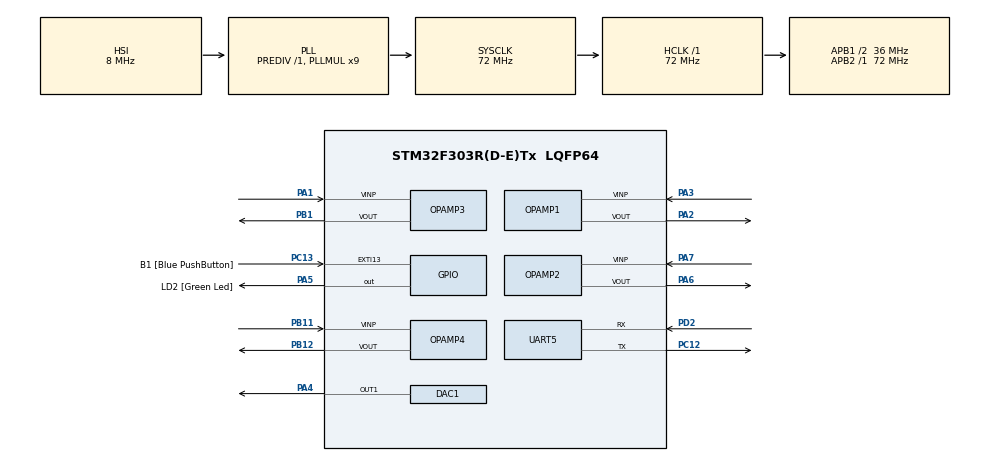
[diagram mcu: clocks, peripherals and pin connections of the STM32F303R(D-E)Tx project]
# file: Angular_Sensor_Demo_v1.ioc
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ADC1.Channel-0\#ChannelRegularConversion=ADC_CHANNEL_3
ADC1.ClockPrescaler=ADC_CLOCK_SYNC_PCLK_DIV4
ADC1.ContinuousConvMode=ENABLE
ADC1.DMAContinuousRequests=ENABLE
ADC1.DataAlign=ADC_DATAALIGN_RIGHT
ADC1.DiscontinuousConvMode=DISABLE
ADC1.EOCSelection=ADC_EOC_SINGLE_CONV
ADC1.EnableAnalogWatchDog1=false
ADC1.EnableAnalogWatchDog2=false
ADC1.EnableAnalogWatchDog3=false
ADC1.EnableInjectedConversion=ENABLE
ADC1.EnableRegularConversion=ENABLE
ADC1.ExternalTrigConv=ADC_SOFTWARE_START
ADC1.ExternalTrigConvEdge=ADC_EXTERNALTRIGCONVEDGE_NONE
ADC1.InjNumberOfConversion=0
ADC1.LowPowerAutoWait=DISABLE
ADC1.NbrOfConversion=1
ADC1.NbrOfConversionFlag=1
ADC1.Offset-0\#ChannelRegularConversion=0
ADC1.OffsetNumber-0\#ChannelRegularConversion=ADC_OFFSET_NONE
ADC1.Overrun=ADC_OVR_DATA_OVERWRITTEN
ADC1.Rank-0\#ChannelRegularConversion=1
ADC1.Resolution=ADC_RESOLUTION_12B
ADC1.SamplingTime-0\#ChannelRegularConversion=ADC_SAMPLETIME_4CYCLES_5
ADC1.ScanConvMode=ADC_SCAN_DISABLE
ADC1.master=1
ADC2.Channel-200\#ChannelRegularConversion=ADC_CHANNEL_3
ADC2.ClockPrescaler=ADC_CLOCK_SYNC_PCLK_DIV4
ADC2.ContinuousConvMode=ENABLE
ADC2.DMAContinuousRequests=ENABLE
ADC2.DataAlign=ADC_DATAALIGN_RIGHT
ADC2.DiscontinuousConvMode=DISABLE
ADC2.EOCSelection=ADC_EOC_SINGLE_CONV
ADC2.EnableAnalogWatchDog1=false
ADC2.EnableAnalogWatchDog2=false
ADC2.EnableAnalogWatchDog3=false
ADC2.EnableInjectedConversion=DISABLE
ADC2.EnableRegularConversion=ENABLE
ADC2.ExternalTrigConv=ADC_SOFTWARE_START
ADC2.ExternalTrigConvEdge=ADC_EXTERNALTRIGCONVEDGE_NONE
ADC2.LowPowerAutoWait=DISABLE
ADC2.NbrOfConversion=1
ADC2.NbrOfConversionFlag=1
ADC2.Offset-200\#ChannelRegularConversion=0
ADC2.OffsetNumber-200\#ChannelRegularConversion=ADC_OFFSET_NONE
ADC2.Overrun=ADC_OVR_DATA_OVERWRITTEN
ADC2.Rank-200\#ChannelRegularConversion=1
ADC2.Resolution=ADC_RESOLUTION_12B
ADC2.SamplingTime-200\#ChannelRegularConversion=ADC_SAMPLETIME_4CYCLES_5
ADC2.ScanConvMode=ADC_SCAN_DISABLE
ADC3.Channel-0\#ChannelRegularConversion=ADC_CHANNEL_1
ADC3.ClockPrescaler=ADC_CLOCK_SYNC_PCLK_DIV4
ADC3.ContinuousConvMode=ENABLE
ADC3.DMAContinuousRequests=ENABLE
ADC3.DataAlign=ADC_DATAALIGN_RIGHT
ADC3.DiscontinuousConvMode=DISABLE
ADC3.EOCSelection=ADC_EOC_SINGLE_CONV
ADC3.EnableAnalogWatchDog1=false
ADC3.EnableAnalogWatchDog2=false
ADC3.EnableAnalogWatchDog3=false
ADC3.EnableInjectedConversion=ENABLE
ADC3.EnableRegularConversion=ENABLE
ADC3.ExternalTrigConv=ADC_SOFTWARE_START
ADC3.ExternalTrigConvEdge=ADC_EXTERNALTRIGCONVEDGE_NONE
ADC3.InjNumberOfConversion=0
ADC3.LowPowerAutoWait=DISABLE
ADC3.NbrOfConversion=1
ADC3.NbrOfConversionFlag=1
ADC3.Offset-0\#ChannelRegularConversion=0
ADC3.OffsetNumber-0\#ChannelRegularConversion=ADC_OFFSET_NONE
ADC3.Overrun=ADC_OVR_DATA_OVERWRITTEN
ADC3.Rank-0\#ChannelRegularConversion=1
ADC3.Resolution=ADC_RESOLUTION_12B
ADC3.SamplingTime-0\#ChannelRegularConversion=ADC_SAMPLETIME_4CYCLES_5
ADC3.ScanConvMode=ADC_SCAN_DISABLE
ADC3.master=1
ADC4.Channel-0\#ChannelRegularConversion=ADC_CHANNEL_3
ADC4.ClockPrescaler=ADC_CLOCK_SYNC_PCLK_DIV4
ADC4.ContinuousConvMode=ENABLE
ADC4.DMAContinuousRequests=ENABLE
ADC4.DataAlign=ADC_DATAALIGN_RIGHT
ADC4.DiscontinuousConvMode=DISABLE
ADC4.EOCSelection=ADC_EOC_SINGLE_CONV
ADC4.EnableAnalogWatchDog1=false
ADC4.EnableAnalogWatchDog2=false
ADC4.EnableAnalogWatchDog3=false
ADC4.EnableInjectedConversion=ENABLE
ADC4.EnableRegularConversion=ENABLE
ADC4.ExternalTrigConv=ADC_SOFTWARE_START
ADC4.ExternalTrigConvEdge=ADC_EXTERNALTRIGCONVEDGE_NONE
ADC4.InjNumberOfConversion=0
ADC4.LowPowerAutoWait=DISABLE
ADC4.NbrOfConversion=1
ADC4.NbrOfConversionFlag=1
ADC4.Offset-0\#ChannelRegularConversion=0
ADC4.OffsetNumber-0\#ChannelRegularConversion=ADC_OFFSET_NONE
ADC4.Overrun=ADC_OVR_DATA_OVERWRITTEN
ADC4.Rank-0\#ChannelRegularConversion=1
ADC4.Resolution=ADC_RESOLUTION_12B
ADC4.SamplingTime-0\#ChannelRegularConversion=ADC_SAMPLETIME_4CYCLES_5
ADC4.ScanConvMode=ADC_SCAN_DISABLE
DAC1.DAC_Trigger=DAC_TRIGGER_T6_TRGO
DAC1.TriangleAmplitude=DAC_TRIANGLEAMPLITUDE_255
DAC1.WaveGeneration=TriangleWaveGeneration
Dma.ADC1.4.Direction=DMA_PERIPH_TO_MEMORY
Dma.ADC1.4.Instance=DMA1_Channel1
Dma.ADC1.4.MemDataAlignment=DMA_MDATAALIGN_WORD
Dma.ADC1.4.MemInc=DMA_MINC_ENABLE
Dma.ADC1.4.Mode=DMA_NORMAL
Dma.ADC1.4.PeriphDataAlignment=DMA_PDATAALIGN_WORD
Dma.ADC1.4.PeriphInc=DMA_PINC_DISABLE
Dma.ADC1.4.Priority=DMA_PRIORITY_LOW
Dma.ADC2.1.Direction=DMA_PERIPH_TO_MEMORY
Dma.ADC2.1.Instance=DMA2_Channel1
Dma.ADC2.1.MemDataAlignment=DMA_MDATAALIGN_WORD
Dma.ADC2.1.MemInc=DMA_MINC_ENABLE
Dma.ADC2.1.Mode=DMA_NORMAL
Dma.ADC2.1.PeriphDataAlignment=DMA_PDATAALIGN_WORD
Dma.ADC2.1.PeriphInc=DMA_PINC_DISABLE
Dma.ADC2.1.Priority=DMA_PRIORITY_LOW
Dma.ADC3.0.Direction=DMA_PERIPH_TO_MEMORY
Dma.ADC3.0.Instance=DMA2_Channel5
Dma.ADC3.0.MemDataAlignment=DMA_MDATAALIGN_WORD
Dma.ADC3.0.MemInc=DMA_MINC_ENABLE
Dma.ADC3.0.Mode=DMA_NORMAL
Dma.ADC3.0.PeriphDataAlignment=DMA_PDATAALIGN_WORD
Dma.ADC3.0.PeriphInc=DMA_PINC_DISABLE
Dma.ADC3.0.Priority=DMA_PRIORITY_LOW
Dma.ADC4.2.Direction=DMA_PERIPH_TO_MEMORY
Dma.ADC4.2.Instance=DMA2_Channel2
Dma.ADC4.2.MemDataAlignment=DMA_MDATAALIGN_WORD
Dma.ADC4.2.MemInc=DMA_MINC_ENABLE
Dma.ADC4.2.Mode=DMA_NORMAL
Dma.ADC4.2.PeriphDataAlignment=DMA_PDATAALIGN_WORD
Dma.ADC4.2.PeriphInc=DMA_PINC_DISABLE
Dma.ADC4.2.Priority=DMA_PRIORITY_LOW
Dma.DAC1_CH1.3.Direction=DMA_MEMORY_TO_PERIPH
Dma.DAC1_CH1.3.Instance=DMA1_Channel3
Dma.DAC1_CH1.3.MemDataAlignment=DMA_MDATAALIGN_WORD
Dma.DAC1_CH1.3.MemInc=DMA_MINC_ENABLE
Dma.DAC1_CH1.3.Mode=DMA_CIRCULAR
Dma.DAC1_CH1.3.PeriphDataAlignment=DMA_PDATAALIGN_WORD
Dma.DAC1_CH1.3.PeriphInc=DMA_PINC_DISABLE
Dma.DAC1_CH1.3.Priority=DMA_PRIORITY_LOW
Dma.Request0=ADC3
Dma.Request1=ADC2
Dma.Request2=ADC4
Dma.Request3=DAC1_CH1
Dma.Request4=ADC1
Mcu.Family=STM32F3
Mcu.Name=STM32F303R(D-E)Tx
Mcu.Package=LQFP64
NVIC.DMA1_Channel1_IRQn=true\:0\:0\:false\:false\:true\:false
NVIC.DMA1_Channel3_IRQn=true\:0\:0\:false\:false\:true\:false
NVIC.DMA2_Channel1_IRQn=true\:0\:0\:false\:false\:true\:false
NVIC.DMA2_Channel2_IRQn=true\:0\:0\:false\:false\:true\:false
NVIC.DMA2_Channel5_IRQn=true\:0\:0\:false\:false\:true\:false
NVIC.PriorityGroup=NVIC_PRIORITYGROUP_0
NVIC.TIM3_IRQn=true\:0\:0\:false\:false\:true\:true
OPAMP1.PgaGain=OPAMP_PGA_GAIN_16
OPAMP2.PgaGain=OPAMP_PGA_GAIN_16
OPAMP3.PgaGain=OPAMP_PGA_GAIN_16
OPAMP4.PgaGain=OPAMP_PGA_GAIN_16
PA1.Mode=PGA Not Connected
PA1.Signal=OPAMP3_VINP
PA13.GPIO_Label=TMS
PA13.Mode=Serial_Wire
PA13.Signal=SYS_JTMS-SWDIO
PA14.GPIO_Label=TCK
PA14.Mode=Serial_Wire
PA14.Signal=SYS_JTCK-SWCLK
PA2.Mode=PGA Not Connected
PA2.Signal=OPAMP1_VOUT
PA3.Mode=PGA Not Connected
PA3.Signal=OPAMP1_VINP
PA4.Signal=COMP_DAC11_group
PA5.GPIO_Label=LD2 [Green Led]
PA5.GPIO_Mode=GPIO_MODE_OUTPUT_PP
PA5.GPIO_PuPd=GPIO_NOPULL
PA5.GPIO_Speed=GPIO_SPEED_FREQ_LOW
PA5.Signal=GPIO_Output
PA6.Mode=PGA Not Connected
PA6.Signal=OPAMP2_VOUT
PA7.Mode=PGA Not Connected
PA7.Signal=OPAMP2_VINP
PB1.Mode=PGA Not Connected
PB1.Signal=OPAMP3_VOUT
PB11.Mode=PGA Not Connected
PB11.Signal=OPAMP4_VINP
PB12.Mode=PGA Not Connected
PB12.Signal=OPAMP4_VOUT
PB3.GPIO_Label=SWO
PB3.Signal=SYS_JTDO-TRACESWO
PC12.Mode=Asynchronous
PC12.Signal=UART5_TX
PC13.GPIO_Label=B1 [Blue PushButton]
PC13.GPIO_ModeDefaultEXTI=GPIO_MODE_IT_FALLING
PC13.Signal=GPXTI13
PC14-OSC32_IN.Mode=LSE-External-Oscillator
PC14-OSC32_IN.Signal=RCC_OSC32_IN
PC15-OSC32_OUT.Mode=LSE-External-Oscillator
PC15-OSC32_OUT.Signal=RCC_OSC32_OUT
PD2.Mode=Asynchronous
PD2.Signal=UART5_RX
PF0-OSC_IN.Mode=HSE-External-Clock-Source
PF0-OSC_IN.Signal=RCC_OSC_IN
PF1-OSC_OUT.Signal=RCC_OSC_OUT
ProjectManager.HeapSize=0x200
ProjectManager.StackSize=0x400
ProjectManager.TargetToolchain=MDK-ARM V5
RCC.AHBFreq_Value=72000000
RCC.APB1CLKDivider=RCC_HCLK_DIV2
RCC.APB1Freq_Value=36000000
RCC.APB1TimFreq_Value=72000000
RCC.APB2Freq_Value=72000000
RCC.APB2TimFreq_Value=72000000
RCC.CortexFreq_Value=72000000
RCC.HCLKFreq_Value=72000000
RCC.HSE_VALUE=8000000
RCC.HSI_VALUE=8000000
RCC.PLLM=8
RCC.PLLMUL=RCC_PLL_MUL9
RCC.PLLN=336
RCC.PLLP=RCC_PLLP_DIV4
RCC.PLLQ=7
RCC.RCC_PLLsource_Clock_Source_FROM_HSE=RCC_HSE_PREDIV_DIV2
RCC.SYSCLKFreq_VALUE=72000000
RCC.SYSCLKSourceVirtual=RCC_SYSCLKSOURCE_PLLCLK
RCC.USBFreq_Value=72000000
SH.COMP_DAC11_group.0=DAC1_OUT1,DAC_OUT1
TIM3.AutoReloadPreload=TIM_AUTORELOAD_PRELOAD_DISABLE
TIM3.Period=100-1
TIM3.Prescaler=72-1
TIM3.TIM_MasterOutputTrigger=TIM_TRGO_RESET
TIM3.TIM_MasterSlaveMode=TIM_MASTERSLAVEMODE_DISABLE
TIM6.Period=10000-1
TIM6.Prescaler=72-1
TIM6.TIM_MasterOutputTrigger=TIM_TRGO_UPDATE
VP_ADC1_OPAMP_OUT1.Mode=IN-OPAMP1-Single-Ended
VP_ADC2_OPAMP_OUT2.Mode=IN-OPAMP2-Single-Ended
VP_ADC3_OPAMP_OUT3.Mode=IN-OPAMP3-Single-Ended
VP_ADC4_OPAMP_OUT4.Mode=IN-OPAMP4-Single-Ended
VP_TIM3_VS_ClockSourceINT.Mode=Internal
VP_TIM3_VS_ClockSourceITR.Mode=TriggerSource_ITR2
VP_TIM6_VS_ClockSourceINT.Mode=Enable_Timer
board=NUCLEO-F303RE

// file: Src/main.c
/**
  ******************************************************************************
  * File Name          : main.c
  * Description        : Main program body
  ******************************************************************************
  ** This notice applies to any and all portions of this file
  * that are not between comment pairs USER CODE BEGIN and
  * USER CODE END. Other portions of this file, whether
  * inserted by the user or by software development tools
  * are owned by their respective copyright owners.
  *
  * COPYRIGHT(c) 2018 STMicroelectronics
  *
  * Redistribution and use in source and binary forms, with or without modification,
  * are permitted provided that the following conditions are met:
  *   1. Redistributions of source code must retain the above copyright notice,
  *      this list of conditions and the following disclaimer.
  *   2. Redistributions in binary form must reproduce the above copyright notice,
  *      this list of conditions and the following disclaimer in the documentation
  *      and/or other materials provided with the distribution.
  *   3. Neither the name of STMicroelectronics nor the names of its contributors
  *      may be used to endorse or promote products derived from this software
  *      without specific prior written permission.
  *
  * THIS SOFTWARE IS PROVIDED BY THE COPYRIGHT HOLDERS AND CONTRIBUTORS "AS IS"
  * AND ANY EXPRESS OR IMPLIED WARRANTIES, INCLUDING, BUT NOT LIMITED TO, THE
  * IMPLIED WARRANTIES OF MERCHANTABILITY AND FITNESS FOR A PARTICULAR PURPOSE ARE
  * DISCLAIMED. IN NO EVENT SHALL THE COPYRIGHT HOLDER OR CONTRIBUTORS BE LIABLE
  * FOR ANY DIRECT, INDIRECT, INCIDENTAL, SPECIAL, EXEMPLARY, OR CONSEQUENTIAL
  * DAMAGES (INCLUDING, BUT NOT LIMITED TO, PROCUREMENT OF SUBSTITUTE GOODS OR
  * SERVICES; LOSS OF USE, DATA, OR PROFITS; OR BUSINESS INTERRUPTION) HOWEVER
  * CAUSED AND ON ANY THEORY OF LIABILITY, WHETHER IN CONTRACT, STRICT LIABILITY,
  * OR TORT (INCLUDING NEGLIGENCE OR OTHERWISE) ARISING IN ANY WAY OUT OF THE USE
  * OF THIS SOFTWARE, EVEN IF ADVISED OF THE POSSIBILITY OF SUCH DAMAGE.
  *
  ******************************************************************************
  */

#include "main.h"
#include "stm32f3xx_hal.h"
#include "adc.h"
#include "dac.h"
#include "dma.h"
#include "opamp.h"
#include "tim.h"
#include "usart.h"
#include "gpio.h"

/* USER CODE BEGIN Includes */
#include <stdio.h>
#include <string.h>
/* USER CODE END Includes */

/* USER CODE BEGIN PV */
/* Private variables ---------------------------------------------------------*/
#define ADC_Read_Counter 10
#define ADC_Channel 1
#define ADC_RW_LEN ADC_Read_Counter * ADC_Channel

#define StringRW 64

char uartTxMessage[StringRW];
char printMsg[StringRW];

float   ADC1_FLOAT = 0;
float   ADC2_FLOAT = 0;
float   ADC3_FLOAT = 0;
float   ADC4_FLOAT = 0;
uint32_t ADC1_U32, ADC2_U32, ADC3_U32, ADC4_U32;
uint32_t ADC1_U32_ARR[ADC_RW_LEN] = {0};
uint32_t ADC2_U32_ARR[ADC_RW_LEN] = {0};
uint32_t ADC3_U32_ARR[ADC_RW_LEN] = {0};
uint32_t ADC4_U32_ARR[ADC_RW_LEN] = {0};

uint8_t i;
/* USER CODE END PV */

void SystemClock_Config(void);

/* USER CODE BEGIN PFP */
/* Private function prototypes -----------------------------------------------*/

/* USER CODE END PFP */

/* USER CODE BEGIN 0 */
void get_ADCValue(float *ADC_FLOAT, uint32_t *ADC_U32, uint32_t *ADC_U32_ARR);
/* USER CODE END 0 */

int main(void)
{

  /* MCU Configuration----------------------------------------------------------*/

  /* Reset of all peripherals, Initializes the Flash interface and the Systick. */
  HAL_Init();

  /* Configure the system clock */
  SystemClock_Config();

  /* Initialize all configured peripherals */
  MX_GPIO_Init();
  MX_DMA_Init();
  MX_DAC1_Init();
  MX_OPAMP2_Init();
  MX_OPAMP3_Init();
  MX_OPAMP4_Init();
  MX_OPAMP1_Init();

  MX_TIM3_Init();
  MX_TIM6_Init();
  MX_ADC1_Init();
  MX_ADC4_Init();
  MX_ADC3_Init();
  MX_ADC2_Init();
  MX_UART5_Init();

  /* USER CODE BEGIN 2 */

  /*---- OPAMP Init ----------------- */
  OPAMP_Calibration();
  OPAMP_Start();

  /*---- ADC Init ----------------- */
  ADC_Calibration();

  HAL_TIM_Base_Start(&htim6);

  /*---- DAC Init ----------------- */
  HAL_TIM_Base_Start_IT(&htim3);
  HAL_DAC_Start(&hdac1, DAC_CHANNEL_1);

  /* USER CODE END 2 */

  /* Infinite loop */
  while (1)
  {

    /* USER CODE BEGIN 3 */
    LED_TOGGLE(LD2_Pin);

    // HAL_UART_Transmit_DMA(&huart2, (uint8_t *)aTxMessage, sizeof(aTxMessage));

    // printfDMA("******** ADC DMA Example ********\r\n");
    // sprintf(printMsg, "Temp value = %1.3f  \r\n", interTemp);

    printf("ADC1 = %6d, %1.3fV \r\n", ADC1_U32, ADC1_FLOAT);
    printf("ADC2 = %6d, %1.3fV \r\n", ADC2_U32, ADC2_FLOAT);
    printf("ADC3 = %6d, %1.3fV \r\n", ADC3_U32, ADC3_FLOAT);
    printf("ADC4 = %6d, %1.3fV \r\n", ADC4_U32, ADC4_FLOAT);
    printf("\r\n");

    HAL_Delay(200);
  }
  /* USER CODE END 3 */

}

/** System Clock Configuration
*/
void SystemClock_Config(void)
{

  RCC_OscInitTypeDef RCC_OscInitStruct;
  RCC_ClkInitTypeDef RCC_ClkInitStruct;
  RCC_PeriphCLKInitTypeDef PeriphClkInit;

  /**Initializes the CPU, AHB and APB busses clocks
  */
  RCC_OscInitStruct.OscillatorType = RCC_OSCILLATORTYPE_HSI;
  RCC_OscInitStruct.HSIState = RCC_HSI_ON;
  RCC_OscInitStruct.HSICalibrationValue = 16;
  RCC_OscInitStruct.PLL.PLLState = RCC_PLL_ON;
  RCC_OscInitStruct.PLL.PLLSource = RCC_PLLSOURCE_HSI;
  RCC_OscInitStruct.PLL.PLLMUL = RCC_PLL_MUL9;
  RCC_OscInitStruct.PLL.PREDIV = RCC_PREDIV_DIV1;
  if (HAL_RCC_OscConfig(&RCC_OscInitStruct) != HAL_OK)
  {
    _Error_Handler(__FILE__, __LINE__);
  }

  /**Initializes the CPU, AHB and APB busses clocks
  */
  RCC_ClkInitStruct.ClockType = RCC_CLOCKTYPE_HCLK | RCC_CLOCKTYPE_SYSCLK
                                | RCC_CLOCKTYPE_PCLK1 | RCC_CLOCKTYPE_PCLK2;
  RCC_ClkInitStruct.SYSCLKSource = RCC_SYSCLKSOURCE_PLLCLK;
  RCC_ClkInitStruct.AHBCLKDivider = RCC_SYSCLK_DIV1;
  RCC_ClkInitStruct.APB1CLKDivider = RCC_HCLK_DIV2;
  RCC_ClkInitStruct.APB2CLKDivider = RCC_HCLK_DIV1;

  if (HAL_RCC_ClockConfig(&RCC_ClkInitStruct, FLASH_LATENCY_2) != HAL_OK)
  {
    _Error_Handler(__FILE__, __LINE__);
  }

  PeriphClkInit.PeriphClockSelection = RCC_PERIPHCLK_UART5 | RCC_PERIPHCLK_TIM34;
  PeriphClkInit.Uart5ClockSelection = RCC_UART5CLKSOURCE_PCLK1;
  PeriphClkInit.Tim34ClockSelection = RCC_TIM34CLK_HCLK;
  if (HAL_RCCEx_PeriphCLKConfig(&PeriphClkInit) != HAL_OK)
  {
    _Error_Handler(__FILE__, __LINE__);
  }

  /**Configure the Systick interrupt time
  */
  HAL_SYSTICK_Config(HAL_RCC_GetHCLKFreq() / 1000);

  /**Configure the Systick
  */
  HAL_SYSTICK_CLKSourceConfig(SYSTICK_CLKSOURCE_HCLK);

  /* SysTick_IRQn interrupt configuration */
  HAL_NVIC_SetPriority(SysTick_IRQn, 0, 0);
}

/* USER CODE BEGIN 4 */
/**
  * @brief  Period elapsed callback in non blocking mode
  * @param  htim: TIM handle
  * @retval None
  */
void HAL_TIM_PeriodElapsedCallback(TIM_HandleTypeDef *htim)
{
  // timer3 1kHz : HAL_ADC_Start_DMA, HAL_ADC_Stop_DMA
  // timer6 100Hz : DAC_TRIANGLEAMPLITUDE_255
  if (htim->Instance == htim3.Instance)
  {
    // maybe use DMA complete callback event is better than start and stop in timer.
    // In this way, do this method
    HAL_ADC_Start_DMA(&hadc1, (uint32_t*)&ADC1_U32_ARR, ADC_RW_LEN);
    HAL_ADC_Start_DMA(&hadc2, (uint32_t*)&ADC2_U32_ARR, ADC_RW_LEN);
    HAL_ADC_Start_DMA(&hadc3, (uint32_t*)&ADC3_U32_ARR, ADC_RW_LEN);
    HAL_ADC_Start_DMA(&hadc4, (uint32_t*)&ADC4_U32_ARR, ADC_RW_LEN);

    get_ADCValue(&ADC1_FLOAT, &ADC1_U32, ADC1_U32_ARR);
    get_ADCValue(&ADC2_FLOAT, &ADC2_U32, ADC2_U32_ARR);
    get_ADCValue(&ADC3_FLOAT, &ADC3_U32, ADC3_U32_ARR);
    get_ADCValue(&ADC4_FLOAT, &ADC4_U32, ADC4_U32_ARR);

    HAL_ADC_Stop_DMA(&hadc1);
    HAL_ADC_Stop_DMA(&hadc2);
    HAL_ADC_Stop_DMA(&hadc3);
    HAL_ADC_Stop_DMA(&hadc4);
  }
}

#define ADC2VOLTAGE 3.3f / 4096
void get_ADCValue(float *ADC_FLOAT, uint32_t *ADC_U32, uint32_t *ADC_U32_ARR)
{
  *ADC_U32 = 0;
  for (uint8_t i = 0; i < ADC_RW_LEN; i++)
  {
    *ADC_U32 += ADC_U32_ARR[i];
  }
  *ADC_U32 /= ADC_Read_Counter;
  *ADC_FLOAT = *ADC_U32 * ADC2VOLTAGE;
}

/* USER CODE END 4 */

void _Error_Handler(char * file, int line)
{
  while (1)
  {
  }
}

/************************ (C) COPYRIGHT STMicroelectronics *****END OF FILE****/
